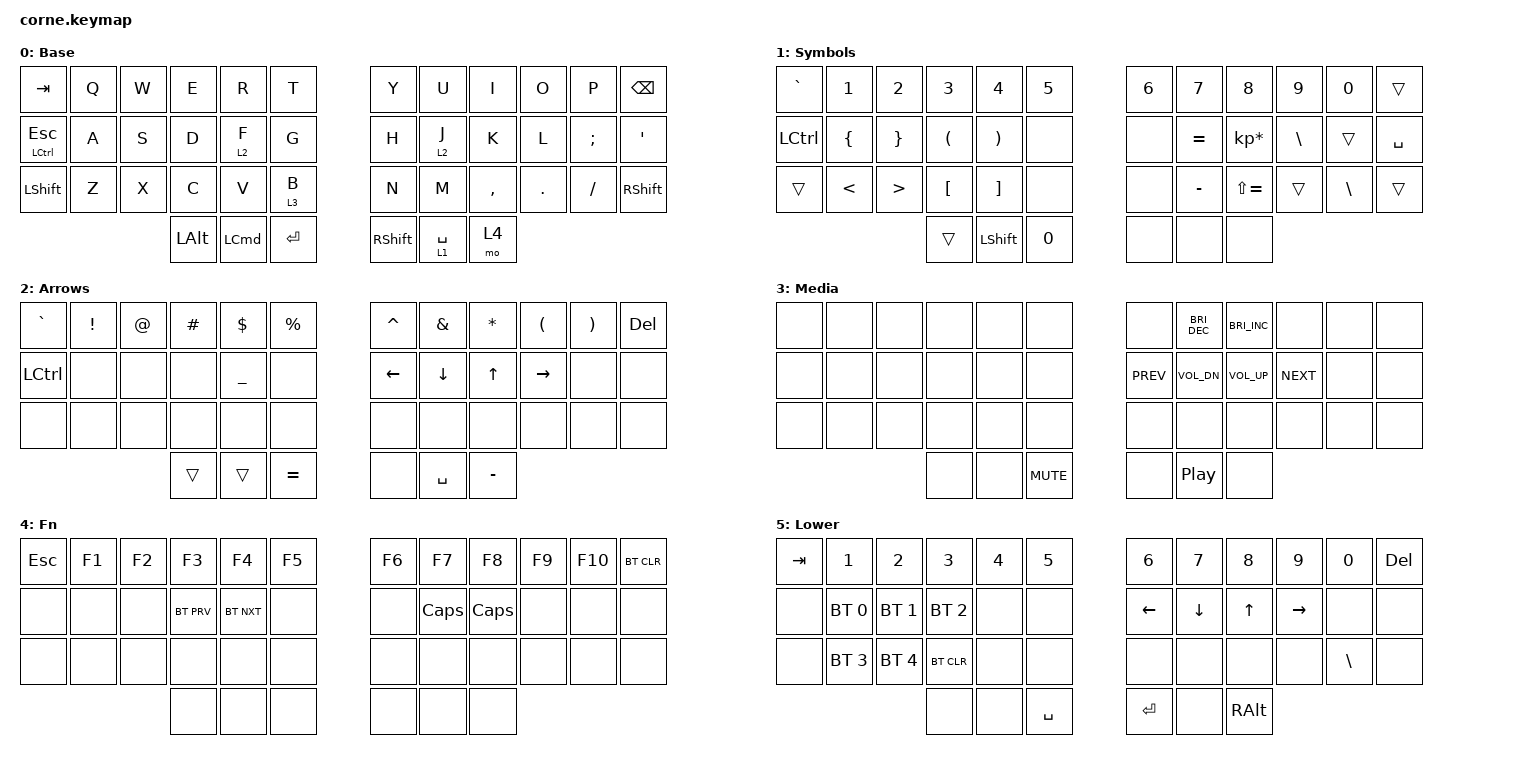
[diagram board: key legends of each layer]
/*
 * Copyright (c) 2020 The ZMK Contributors
 *
 * SPDX-License-Identifier: MIT
 */

#include <behaviors.dtsi>
#include <dt-bindings/zmk/bt.h>
#include <dt-bindings/zmk/keys.h>

/ {
    combos { compatible = "zmk,combos"; };

    keymap {
        compatible = "zmk,keymap";

        base {
            // -----------------------------------------------------------------------------------------
            // |  TAB |  Q  |  W  |  E  |  R  |  T  |   |  Y  |  U   |  I  |  O  |  P  | BSPC |
            // | CTRL |  A  |  S  |  D  |  F  |  G  |   |  H  |  J   |  K  |  L  |  ;  |  '   |
            // | SHFT |  Z  |  X  |  C  |  V  |  B  |   |  N  |  M   |  ,  |  .  |  /  | ESC  |
            //                    | GUI | LWR | SPC |   | ENT | RSE  | ALT |

            bindings = <
&kp TAB               &kp Q  &kp W  &kp E         &kp R             &kp T        &kp Y            &kp U        &kp I      &kp O    &kp P     &kp BSPC
&mt LEFT_CONTROL ESC  &kp A  &kp S  &kp D         &lt 2 F           &kp G        &kp H            &lt 2 J      &kp K      &kp L    &kp SEMI  &kp SQT
&kp LSHFT             &kp Z  &kp X  &kp C         &kp V             &lt 3 B      &kp N            &kp M        &kp COMMA  &kp DOT  &kp FSLH  &kp RIGHT_SHIFT
                                    &kp LEFT_ALT  &kp LEFT_COMMAND  &kp ENTER    &kp RIGHT_SHIFT  &lt 1 SPACE  &mo 4
            >;

            label = "Base";
        };

        symbols {
            bindings = <
&kp GRAVE  &kp N1          &kp N2            &kp N3                &kp N4                 &kp N5    &kp N6  &kp N7     &kp N8           &kp N9    &kp N0         &trans
&kp LCTRL  &kp LEFT_BRACE  &kp RIGHT_BRACE   &kp LEFT_PARENTHESIS  &kp RIGHT_PARENTHESIS  &none     &none   &kp EQUAL  &kp KP_MULTIPLY  &kp BSLH  &trans         &kp SPACE
&trans     &kp LESS_THAN   &kp GREATER_THAN  &kp LEFT_BRACKET      &kp RIGHT_BRACKET      &none     &none   &kp MINUS  &kp LS(EQUAL)    &trans    &kp BACKSLASH  &trans
                                             &trans                &kp LSHFT              &kp N0    &none   &none      &none
            >;

            label = "Symbols";
        };

        arrows {
            // -----------------------------------------------------------------------------------------
            // |  TAB |  !  |  @  |  #  |  $  |  %  |   |  ^  |  &  |  *  |  (  |  )  | BSPC |
            // | CTRL |     |     |     |     |     |   |  -  |  =  |  [  |  ]  |  \  |  `   |
            // | SHFT |     |     |     |     |     |   |  _  |  +  |  {  |  }  | "|" |  ~   |
            //                    | GUI |     | SPC |   | ENT |     | ALT |

            bindings = <
&kp GRAVE         &kp EXCL  &kp AT  &kp HASH  &kp DLLR        &kp PRCNT    &kp CARET  &kp AMPS   &kp ASTRK  &kp LEFT_PARENTHESIS  &kp RIGHT_PARENTHESIS  &kp DEL
&kp LEFT_CONTROL  &none     &none   &none     &kp UNDERSCORE  &none        &kp LEFT   &kp DOWN   &kp UP     &kp RIGHT             &none                  &none
&none             &none     &none   &none     &none           &none        &none      &none      &none      &none                 &none                  &none
                                    &trans    &trans          &kp EQUAL    &none      &kp SPACE  &kp MINUS
            >;

            label = "Arrows";
        };

        media {
            bindings = <
&none  &none  &none  &none  &none  &none         &none       &kp C_BRIGHTNESS_DEC  &kp C_BRIGHTNESS_INC  &none       &none  &none
&none  &none  &none  &none  &none  &none         &kp C_PREV  &kp C_VOL_DN          &kp C_VOLUME_UP       &kp C_NEXT  &none  &none
&none  &none  &none  &none  &none  &none         &none       &none                 &none                 &none       &none  &none
                     &none  &none  &kp K_MUTE    &none       &kp C_PLAY_PAUSE      &none
            >;

            label = "Media";
        };

        function {
            bindings = <
&kp ESCAPE  &kp F1  &kp F2  &kp F3      &kp F4      &kp F5    &kp F6  &kp F7    &kp F8    &kp F9  &kp F10  &bt BT_CLR
&none       &none   &none   &bt BT_PRV  &bt BT_NXT  &none     &none   &kp CAPS  &kp CAPS  &none   &none    &none
&none       &none   &none   &none       &none       &none     &none   &none     &none     &none   &none    &none
                            &none       &none       &none     &none   &none     &none
            >;

            label = "Fn";
        };

        lower_layer {
            // -----------------------------------------------------------------------------------------
            // |  TAB |  1  |  2  |  3  |  4  |  5  |   |  6  |  7  |  8  |  9  |  0  | BSPC |
            // | BTCLR| BT1 | BT2 | BT3 | BT4 | BT5 |   | LFT | DWN |  UP | RGT |     |      |
            // | SHFT |     |     |     |     |     |   |     |     |     |     |     |      |
            //                    | GUI |     | SPC |   | ENT |     | ALT |

            bindings = <
&kp TAB  &kp N1        &kp N2        &kp N3        &kp N4  &kp N5       &kp N6    &kp N7    &kp N8    &kp N9     &kp N0         &kp DELETE
&none    &bt BT_SEL 0  &bt BT_SEL 1  &bt BT_SEL 2  &none   &none        &kp LEFT  &kp DOWN  &kp UP    &kp RIGHT  &none          &none
&none    &bt BT_SEL 3  &bt BT_SEL 4  &bt BT_CLR    &none   &none        &none     &none     &none     &none      &kp BACKSLASH  &none
                                     &none         &none   &kp SPACE    &kp RET   &none     &kp RALT
            >;

            label = "Lower";
        };
    };
};
